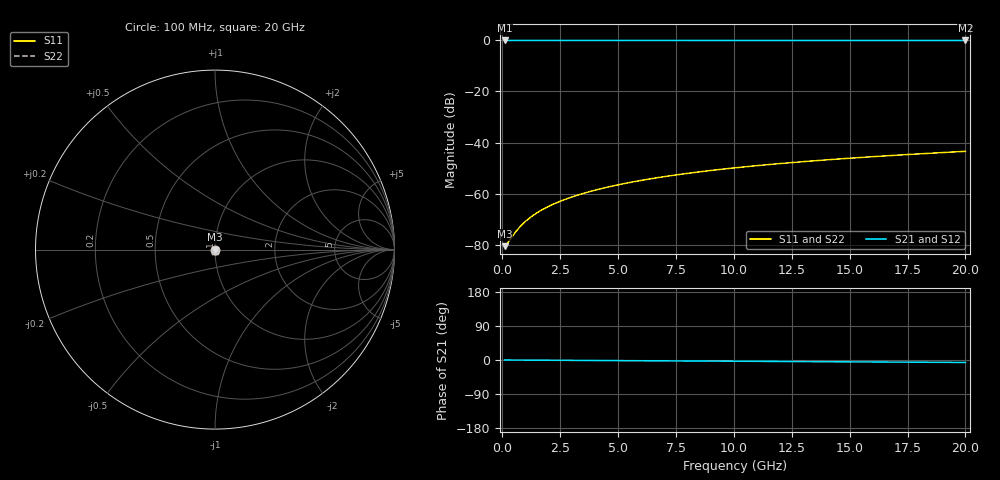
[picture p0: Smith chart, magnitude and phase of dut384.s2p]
! Touchstone file exported from HFSS 2026.1.0
!  File:  C:/ffzhzh/LocalFiles/Ansys_Project_Files/temp_train_TSV_384_1783019860_51716.aedt
!  Generated:  03:19:15 AM Jul  3, 2026
!  Design:  TSV
!  Project:  temp_train_TSV_384_1783019860_51716
! Variables:
!  h_bsmrdl = 2um
!  h_ox = 20um
!  h_rdl = 5um
!  h_sub = 63.17um
!  h_tmrdl = 5um
!  h_tsv = 63.17um
!  h_via = 3um
!  l_bsmrdl = 300um
!  l_sub = 422.26um
!  l_tmrdl = 200um
!  m_sub = 200um
!  pitch = 41.9um
!  r_tsv = 11.13um
!  s_tmrdl = 10um
!  w_bsmrdl = 18um
!  w_sub = 500um
!  w_tmrdl = 12um
!  x_tsv_center1 = 206um
!  x_tsv_center2 = 524um
!  x_tsv_center3 = 736um
!  x_tsv_center4 = 1054um
!  x_tsv_center5 = 1266um
!  x_tsv_center6 = 1584um
# GHz S MA R 50.000000
! Terminal data exported
! Port[1] = TSV1_1_T1
! Port[2] = TSV1_1_T2
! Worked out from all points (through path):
!   200 points, 100 MHz to 20 GHz, reference 50 ohm
!   highest |S21| = 0.00 dB at 100 MHz (marker M1); lowest = 0.0 dB at 20 GHz (marker M2)
!   lowest |S11| = -80.6 dB at 100 MHz (marker M3), VSWR 1.00, Z = 50 + j0.000236 ohm
!   |S11| at or under -10 dB: start of sweep to end of sweep
!   |S22| runs from -80.6 to -43.5 dB; largest |S21 - S12| = 2.1e-15
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0.1  9.306e-05 1.5  0.9999 -0.0  0.9999 -0.0  9.306e-05 1.5
! Gamma 0 0 0 0
! Port Impedance 50 0 50 0
0.2  0.0001034 1.2  0.9999 -0.1  0.9999 -0.1  0.0001034 1.2
0.6  0.0001825 -14.7  0.9998 -0.2  0.9998 -0.2  0.0001825 -14.7
0.7  0.0002068 -19.5  0.9998 -0.2  0.9998 -0.2  0.0002068 -19.5
0.9  0.0002577 -28.3  0.9998 -0.3  0.9998 -0.3  0.0002577 -28.3
1  0.000284 -32.1  0.9998 -0.3  0.9998 -0.3  0.000284 -32.1
1.2  0.0003376 -38.6  0.9997 -0.4  0.9997 -0.4  0.0003376 -38.6
1.5  0.0004199 -46.1  0.9997 -0.5  0.9997 -0.5  0.0004199 -46.1
1.9  0.0005324 -53.2  0.9997 -0.6  0.9997 -0.6  0.0005324 -53.2
2.4  0.0006766 -59.1  0.9996 -0.8  0.9996 -0.8  0.0006766 -59.1
2.9  0.0008246 -63.2  0.9996 -1.0  0.9996 -1.0  0.0008246 -63.2
3.5  0.001007 -66.6  0.9996 -1.1  0.9996 -1.1  0.001007 -66.6
4.2  0.001226 -69.4  0.9995 -1.4  0.9995 -1.4  0.001226 -69.4
5  0.001483 -71.9  0.9995 -1.6  0.9995 -1.6  0.001483 -71.9
5.9  0.001778 -74.0  0.9995 -1.9  0.9995 -1.9  0.001778 -74.0
6.8  0.002079 -75.8  0.9994 -2.2  0.9994 -2.2  0.00208 -75.8
8.3  0.00259 -78.1  0.9993 -2.7  0.9993 -2.7  0.00259 -78.1
10.1  0.00321 -80.3  0.9993 -3.3  0.9993 -3.3  0.00321 -80.3
11.7  0.003766 -82.0  0.9992 -3.8  0.9992 -3.8  0.003766 -82.0
13.4  0.004361 -83.5  0.9992 -4.3  0.9992 -4.3  0.004361 -83.5
16.7  0.005528 -85.8  0.9991 -5.4  0.9991 -5.4  0.005528 -85.8
20  0.006715 -87.8  0.999 -6.5  0.999 -6.5  0.006715 -87.8
